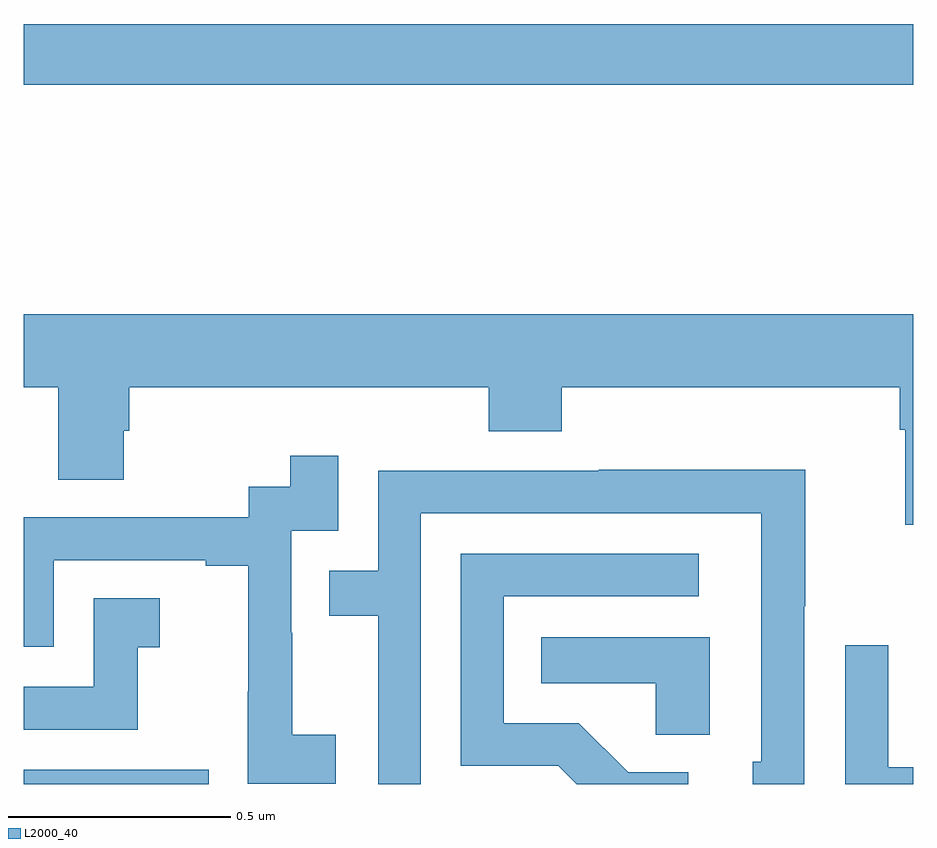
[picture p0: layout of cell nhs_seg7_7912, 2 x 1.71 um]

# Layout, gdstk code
import gdstk
lib = gdstk.Library(unit=1e-6, precision=1e-09)
def R(c, l, rs):  # rectangles x0, y0, x1, y1
    for r in rs: c.add(gdstk.rectangle(r[:2], r[2:], *l))
def P(c, l, *ps):  # polygons
    for p in ps: c.add(gdstk.Polygon(p, *l))
L2000_40 = (2000, 40)

nhs_seg7_7912 = lib.new_cell('nhs_seg7_7912')
R(nhs_seg7_7912, L2000_40, [(217,1057,217.416,1057.032), (217,1058.572,219,1058.708)])
P(nhs_seg7_7912, L2000_40, [(219,1058.056),(217,1058.056),(217,1057.892),(217.078,1057.892),(217.078,1057.684),(217.225,1057.684),(217.225,1057.794),(217.238,1057.794),(217.238,1057.892),(218.045,1057.892),(218.045,1057.793),(218.21,1057.793),(218.21,1057.892),(218.969,1057.892),(218.969,1057.796),(218.981,1057.796),(218.981,1057.583),(219,1057.583)],
  [(217.702,1057.111),(217.604,1057.111),(217.604,1057.34),(217.602,1057.34),(217.602,1057.569),(217.707,1057.569),(217.707,1057.738),(217.599,1057.738),(217.599,1057.668),(217.506,1057.668),(217.506,1057.599),(217,1057.599),(217,1057.308),(217.068,1057.308),(217.068,1057.503),(217.409,1057.503),(217.409,1057.491),(217.505,1057.491),(217.505,1057.207),(217.504,1057.207),(217.504,1057.001),(217.702,1057.001)],
  [(217.893,1057.608),(218.658,1057.608),(218.658,1057.05),(218.639,1057.05),(218.639,1057),(218.754,1057),(218.754,1057.399),(218.757,1057.399),(218.757,1057.706),(218.293,1057.706),(218.293,1057.704),(217.797,1057.704),(217.797,1057.479),(217.687,1057.479),(217.687,1057.378),(217.797,1057.378),(217.797,1057),(217.893,1057)],
  [(218.494,1057.026),(218.359,1057.026),(218.248,1057.137),(218.079,1057.137),(218.079,1057.422),(218.518,1057.422),(218.518,1057.518),(217.983,1057.518),(217.983,1057.041),(218.202,1057.041),(218.243,1057),(218.494,1057)],
  [(217.257,1057.307),(217.306,1057.307),(217.306,1057.417),(217.158,1057.417),(217.158,1057.218),(217,1057.218),(217,1057.122),(217.257,1057.122)],
  [(218.542,1057.33),(218.164,1057.33),(218.164,1057.226),(218.421,1057.226),(218.421,1057.111),(218.542,1057.111)],
  [(219,1057.038),(218.943,1057.038),(218.943,1057.312),(218.847,1057.312),(218.847,1057),(219,1057)])

lib.write_gds('nhs_seg7_7912.gds')
